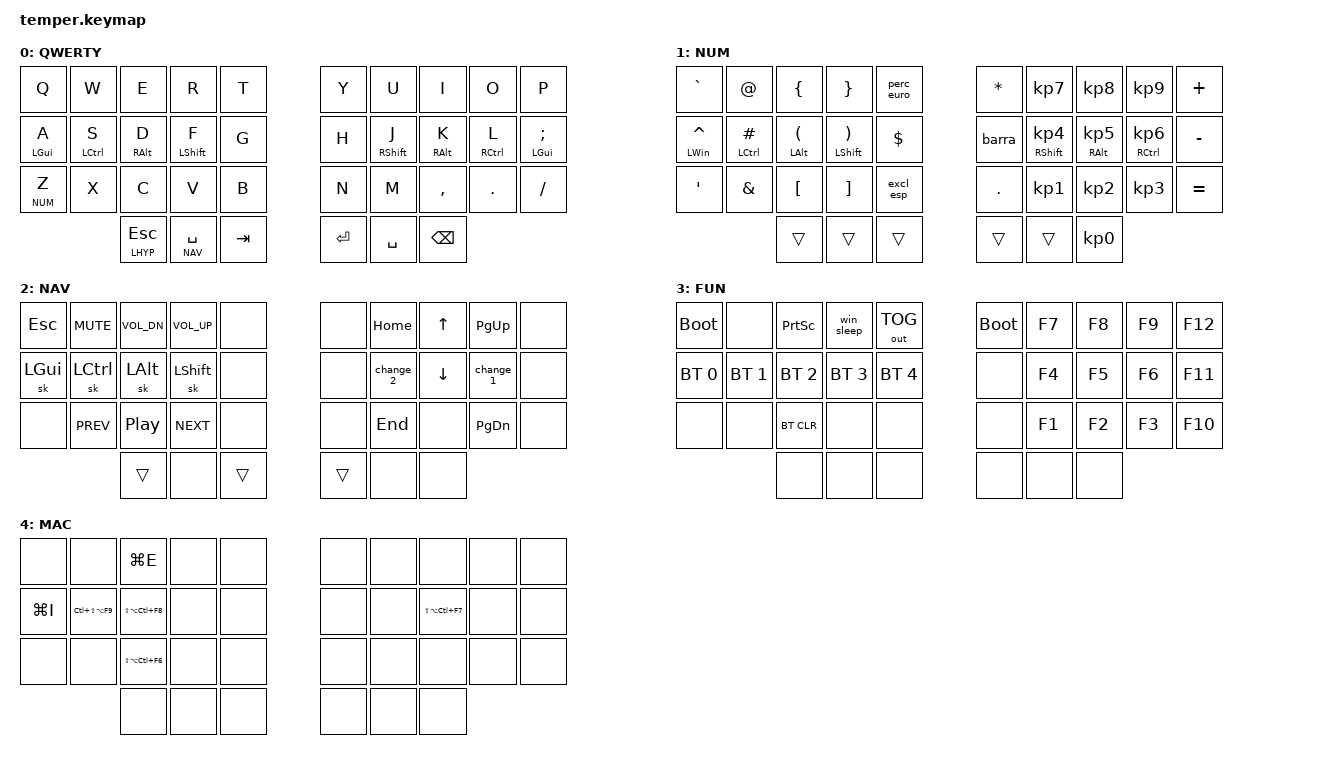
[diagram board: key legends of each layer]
/*
 * Copyright (c) 2020 The ZMK Contributors
 *
 * SPDX-License-Identifier: MIT
 */

#include <behaviors.dtsi>
#include <dt-bindings/zmk/bt.h>
#include <dt-bindings/zmk/keys.h>
#include <dt-bindings/zmk/outputs.h>
#include "specialkeys.dtsi"
//#include "homerowmods.dtsi"
#include "autoshift.dtsi"

#define QWERTY 0
#define NUM 1
#define NAV 2
#define FUN 3
#define MAC 4

/ {
    conditional_layers { compatible = "zmk,conditional-layers"; };

    behaviors {
        media: media {
            compatible = "zmk,behavior-tap-dance";
            #binding-cells = <0>;
            bindings = <&kp C_PLAY_PAUSE>, <&kp C_NEXT>, <&kp C_PREVIOUS>;

            tapping-term-ms = <400>;
        };

        hm: homerow-mods {
            compatible = "zmk,behavior-hold-tap";
            label = "homehow-mods";
            #binding-cells = <2>;
            tapping-term-ms = <175>;
            flavor = "tap-preferred";
            quick-tap-ms = <125>;
            global-quick-tap;
            bindings = <&kp>, <&kp>;
        };

        tm: thumb_mod {
            compatible = "zmk,behavior-hold-tap";
            label = "Thumb_mods";
            #binding-cells = <2>;
            tapping-term-ms = <175>;
            flavor = "tap-preferred";
            quick-tap-ms = <125>;
            global-quick-tap;
            bindings = <&mo>, <&kp>;
        };

        weak: weak {
            compatible = "zmk,behavior-hold-tap";
            label = "WEAK";
            bindings = <&kp>, <&kp>;

            #binding-cells = <2>;
            tapping-term-ms = <230>;
            flavor = "tap-preferred";
            require-prior-idle-ms = <125>;
            quick-tap-ms = <230>;
        };

        tmb_lyr1: tmb_lyr1 {
            compatible = "zmk,behavior-mod-morph";
            label = "TMB_LYR1";
            bindings = <&mo 1>, <&kp DELETE>;

            #binding-cells = <0>;
            mods = <(MOD_LSFT|MOD_RSFT)>;
        };

        tmb_lyr2: tmb_lyr2 {
            compatible = "zmk,behavior-mod-morph";
            label = "TMB_LYR2";
            bindings = <&mo 2>, <&kp BACKSPACE>;

            #binding-cells = <0>;
            mods = <(MOD_LSFT|MOD_RSFT)>;
        };

        barra: barra {
            compatible = "zmk,behavior-mod-morph";
            label = "BARRA";
            bindings = <&kp SLASH>, <&kp NON_US_BSLH>;

            #binding-cells = <0>;
            mods = <(MOD_LSFT|MOD_RSFT)>;
        };

        borrar: borrar {
            compatible = "zmk,behavior-mod-morph";
            label = "BORRAR";
            bindings = <&lt 2 BACKSPACE>, <&kp BACKSPACE>;

            #binding-cells = <0>;
            mods = <(MOD_RALT|MOD_LALT)>;
        };

        del: del {
            compatible = "zmk,behavior-mod-morph";
            label = "DEL";
            bindings = <&lt 1 DELETE>, <&kp DELETE>;

            #binding-cells = <0>;
            mods = <(MOD_RALT|MOD_LALT)>;
        };

        exclbarra: exclbarra {
            compatible = "zmk,behavior-mod-morph";
            label = "EXCLBARRA";
            bindings = <&kp EXCLAMATION>, <&kp PIPE>;

            #binding-cells = <0>;
            mods = <(MOD_LSFT|MOD_RSFT)>;
        };

        excl_esp: excl_esp {
            compatible = "zmk,behavior-mod-morph";
            label = "EXCL_ESP";
            bindings = <&exclbarra>, <&kp RA(NUMBER_1)>;

            #binding-cells = <0>;
            mods = <(MOD_RALT|MOD_LALT)>;
        };

        perc_euro: perc_euro {
            compatible = "zmk,behavior-mod-morph";
            label = "PERC_EURO";
            bindings = <&kp PERCENT>, <&kp RA(N5)>;

            #binding-cells = <0>;
            mods = <(MOD_RALT|MOD_LALT)>;
        };

        tog_num: tog_num {
            compatible = "zmk,behavior-mod-morph";
            label = "TOG_NUM";
            bindings = <&del>, <&tog 1>;

            #binding-cells = <0>;
            mods = <(MOD_LGUI|MOD_RGUI)>;
        };

        change_2: change_2 {
            compatible = "zmk,behavior-mod-morph";
            label = "CHANGE_2";
            bindings = <&kp LEFT>, <&to2>;

            #binding-cells = <0>;
            mods = <(MOD_LGUI)>;
        };

        change_1: change_1 {
            compatible = "zmk,behavior-mod-morph";
            label = "CHANGE_1";
            bindings = <&kp RIGHT>, <&to1>;

            #binding-cells = <0>;
            mods = <(MOD_LGUI)>;
        };
    };

    combos {
        compatible = "zmk,combos";

        caps {
            bindings = <&kp CAPSLOCK>;
            key-positions = <14 15>;
            timeout-ms = <50>;
            layers = <0>;
        };

        cut {
            bindings = <&kp LC(X)>;
            key-positions = <20 21>;
            layers = <0>;
        };

        copy {
            bindings = <&kp LC(C)>;
            key-positions = <21 22>;
            layers = <0>;
        };

        paste {
            bindings = <&kp LC(V)>;
            key-positions = <22 23>;
            layers = <0>;
        };

        save {
            bindings = <&kp LC(S)>;
            key-positions = <10 11>;
            layers = <0>;
        };

        escape {
            bindings = <&kp ESCAPE>;
            key-positions = <0 1>;
            layers = <0 1>;
        };

        close {
            bindings = <&kp LC(W)>;
            key-positions = <1 0>;
            layers = <2>;
        };

        kill {
            bindings = <&kp LA(F4)>;
            key-positions = <1 2 0>;
            layers = <2>;
        };

        num_lock {
            bindings = <&kp KP_NLCK>;
            key-positions = <16 17 18>;
            layers = <1>;
        };

        refresh {
            bindings = <&kp LC(F5)>;
            key-positions = <7 8>;
            layers = <1 2>;
        };

        cntrl_bootloader {
            bindings = <&bootloader>;
            key-positions = <0 5>;
            layers = <3>;
        };

        mac_layer {
            bindings = <&sl 4>;
            key-positions = <31 34>;
        };

        previous {
            bindings = <&kp LA(LEFT_ARROW)>;
            key-positions = <16 17>;
            layers = <2 0 1>;
        };

        next {
            bindings = <&kp LA(RIGHT_ARROW)>;
            key-positions = <17 18>;
            layers = <0 2 3>;
        };

        undo {
            bindings = <&kp LC(Z)>;
            key-positions = <11 12>;
            layers = <0 2 1>;
        };

        redo {
            bindings = <&kp LC(Y)>;
            key-positions = <12 13>;
            layers = <0 2 1>;
        };

        f5_2 {
            bindings = <&kp LC(F5)>;
            key-positions = <1 2>;
            layers = <1 2>;
        };

        Gui {
            bindings = <&kp LEFT_GUI>;
            key-positions = <10 19>;
        };
    };

    macros {
        // Windows sleep key

        win_sleep: win_sleep {
            wait-ms = <50>;
            tap-ms = <5>;
            compatible = "zmk,behavior-macro";
            label = "WIN_SLEEP_KEY";
            #binding-cells = <0>;
            bindings = <&kp LG(X) &kp U &kp S>;
        };

        calc: calc {
            compatible = "zmk,behavior-macro";
            #binding-cells = <0>;
            bindings = <&kp LG(R) &kp C &kp A &kp L &kp C &kp ENTER>;
            label = "CALC";
        };

        to2: to2 {
            compatible = "zmk,behavior-macro";
            #binding-cells = <0>;
            bindings = <&kp LS(LA(LC(F5))) &bt BT_SEL 1>;
            label = "TO2";
        };

        to1: to1 {
            compatible = "zmk,behavior-macro";
            #binding-cells = <0>;
            bindings = <&kp LS(LA(LC(F5))) &bt BT_SEL 0>;
            label = "TO1";
        };
    };

    keymap {
        compatible = "zmk,keymap";

        default_layer {
            display-name = "QWERTY";
            bindings = <
&kp Q             &kp W                 &kp E            &kp R             &kp T      &kp Y      &kp U              &kp I            &kp O                  &kp P
&weak LEFT_GUI A  &weak LEFT_CONTROL S  &hm RIGHT_ALT D  &hm LEFT_SHIFT F  &kp G      &kp H      &hm RIGHT_SHIFT J  &hm RIGHT_ALT K  &weak RIGHT_CONTROL L  &weak LEFT_GUI SEMI
&tm NUM Z       &kp X                 &kp C            &kp V             &kp B      &kp N      &kp M              &kp COMMA        &kp DOT                &kp FSLH
                                    &weak LHYP ESC     &tm NAV SPACE     &kp TAB    &kp ENTER  &kp SPACE          &kp BACKSPACE
            >;
        };

        num_layer {
            display-name = "NUM";
            bindings = <
&kp GRAVE             &kp AT                   &kp LBRC           &kp RBRC             &perc_euro  &kp STAR    &kp KP_NUMBER_7              &kp KP_NUMBER_8            &kp KP_NUMBER_9                &kp PLUS
&weak LEFT_WIN CARET  &weak LEFT_CONTROL HASH  &hm LEFT_ALT LPAR  &hm LEFT_SHIFT RPAR  &kp DLLR    &barra      &hm RIGHT_SHIFT KP_NUMBER_4  &hm RIGHT_ALT KP_NUMBER_5  &hm RIGHT_CONTROL KP_NUMBER_6  &kp MINUS
&kp SQT               &kp AMPERSAND            &kp LBKT           &kp RBKT             &excl_esp   &kp PERIOD  &kp KP_NUMBER_1              &kp KP_NUMBER_2            &kp KP_NUMBER_3                &kp EQUAL
                                               &trans             &trans               &trans      &trans      &trans                       &kp KP_NUMBER_0
            >;
        };

        nav_layer {
            display-name = "NAV";
            bindings = <
&kp ESCAPE    &kp C_MUTE  &kp C_VOL_DN  &kp C_VOL_UP    &none   &none   &kp HOME   &kp UP    &kp PAGE_UP    &none
&sk LEFT_GUI  &sk LCTRL   &sk LEFT_ALT  &sk LEFT_SHIFT  &none   &none   &change_2  &kp DOWN  &change_1      &none
&none         &kp C_PREV  &kp C_PP      &kp C_NEXT      &none   &none   &kp END    &none     &kp PAGE_DOWN  &none
                          &trans        &none           &trans  &trans  &none      &none
            >;
        };

        fun_layer {
            display-name = "FUN";
            bindings = <
&bootloader   &none         &kp PRINTSCREEN  &win_sleep    &out OUT_TOG  &bootloader  &kp F7  &kp F8  &kp F9  &kp F12
&bt BT_SEL 0  &bt BT_SEL 1  &bt BT_SEL 2     &bt BT_SEL 3  &bt BT_SEL 4  &none        &kp F4  &kp F5  &kp F6  &kp F11
&none         &none         &bt BT_CLR       &none         &none         &none        &kp F1  &kp F2  &kp F3  &kp F10
                            &none            &none         &none         &none        &none   &none
            >;
        };

        mac_layer {
            display-name = "MAC";
            bindings = <
&none      &none               &kp LG(E)           &none  &none  &none  &none  &none               &none  &none
&kp LG(I)  &kp LC(LS(LA(F9)))  &kp LS(LA(LC(F8)))  &none  &none  &none  &none  &kp LS(LA(LC(F7)))  &none  &none
&none      &none               &kp LS(LA(LC(F6)))  &none  &none  &none  &none  &none               &none  &none
                               &none               &none  &none  &none  &none  &none
            >;
        };
    };
};
